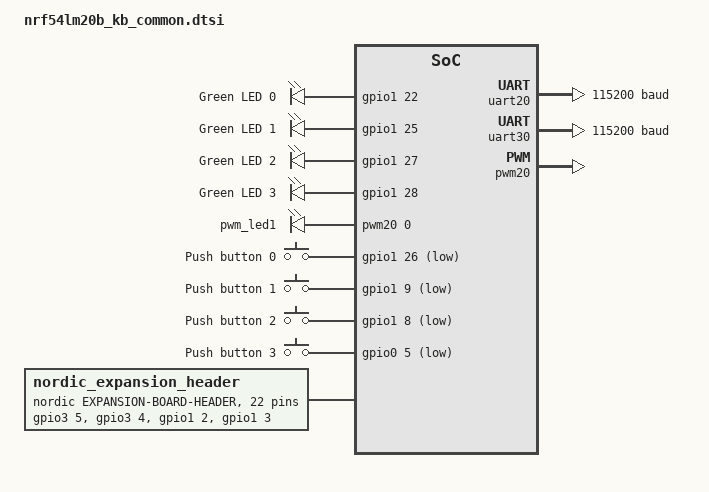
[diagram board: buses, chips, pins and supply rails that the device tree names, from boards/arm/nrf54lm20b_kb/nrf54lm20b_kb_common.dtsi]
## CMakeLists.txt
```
cmake_minimum_required(VERSION 3.20.0)
set(BOARD nrf54lm20b_kb/nrf54lm20b/cpuapp)
set(BOARD_ROOT ${CMAKE_CURRENT_SOURCE_DIR})
find_package(Zephyr REQUIRED HINTS $ENV{ZEPHYR_BASE})
project(nrf54lm20b_kb)

file(GLOB_RECURSE APP_SOURCES src/*.c)
target_sources(app PRIVATE ${APP_SOURCES})

target_include_directories(app PRIVATE inc)
```

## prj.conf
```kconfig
CONFIG_GPIO=y
CONFIG_INPUT=y
CONFIG_LED=y

# BT CONFIG
CONFIG_BT=y
CONFIG_LOG=y
CONFIG_BT_SMP=y
CONFIG_BT_PERIPHERAL=y
CONFIG_BT_DIS=y
CONFIG_BT_DIS_PNP=n
CONFIG_BT_DEVICE_NAME="nrf54lm20b_kb"
CONFIG_BT_DEVICE_APPEARANCE=768
CONFIG_BT_MAX_CONN=1

CONFIG_BT_BAS=y

CONFIG_BT_MAX_PAIRED=2

CONFIG_BT_SMP_APP_PAIRING_ACCEPT=y
CONFIG_BT_SETTINGS=y
CONFIG_SETTINGS=y
CONFIG_FLASH=y
CONFIG_FLASH_MAP=y
CONFIG_NVS=y

# Allow overwriting oldest bond when storage is full
CONFIG_BT_KEYS_OVERWRITE_OLDEST=y
CONFIG_BT_KEYS_SAVE_AGING_COUNTER_ON_PAIRING=y

# Increased stack due to settings API usage
CONFIG_SYSTEM_WORKQUEUE_STACK_SIZE=2048

# DEBUG
CONFIG_CBPRINTF_FP_SUPPORT=y

# Disassembly listing output (build/zephyr/zephyr.lst)
CONFIG_OUTPUT_DISASSEMBLY=y
CONFIG_OUTPUT_DISASSEMBLY_WITH_SOURCE=y
CONFIG_OUTPUT_SYMBOLS=y

# Shell
CONFIG_SHELL=y
CONFIG_SHELL_BACKEND_SERIAL=y

# SHT3x
CONFIG_SENSOR=y
CONFIG_SHT3XD=y
```

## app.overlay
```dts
/*
 * SHT3x temperature/humidity sensor — placeholder wiring (sensor not yet connected)
 */

&pinctrl {
	i2c21_default: i2c21_default {
		group1 {
			psels = <NRF_PSEL(TWIM_SCL, 1, 11)>,
				<NRF_PSEL(TWIM_SDA, 1, 12)>;
		};
	};

	i2c21_sleep: i2c21_sleep {
		group1 {
			psels = <NRF_PSEL(TWIM_SCL, 1, 11)>,
				<NRF_PSEL(TWIM_SDA, 1, 12)>;
			low-power-enable;
		};
	};
};

&i2c21 {
	status = "okay";
	pinctrl-0 = <&i2c21_default>;
	pinctrl-1 = <&i2c21_sleep>;
	pinctrl-names = "default", "sleep";
	clock-frequency = <I2C_BITRATE_FAST>;

	sht3xd: sht3xd@44 {
		compatible = "sensirion,sht3xd";
		reg = <0x44>;
	};
};

&mx25r64 {
	status = "disabled";
};
```

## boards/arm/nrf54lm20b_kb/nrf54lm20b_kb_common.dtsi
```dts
/*
 * Copyright (c) 2025 Nordic Semiconductor ASA
 *
 * SPDX-License-Identifier: Apache-2.0
 */

#include "nrf54lm20b_kb-pinctrl.dtsi"

/ {
	leds {
		compatible = "gpio-leds";

		led0: led_0 {
			gpios = <&gpio1 22 GPIO_ACTIVE_HIGH>;
			label = "Green LED 0";
		};

		led1: led_1 {
			gpios = <&gpio1 25 GPIO_ACTIVE_HIGH>;
			label = "Green LED 1";
		};

		led2: led_2 {
			gpios = <&gpio1 27 GPIO_ACTIVE_HIGH>;
			label = "Green LED 2";
		};

		led3: led_3 {
			gpios = <&gpio1 28 GPIO_ACTIVE_HIGH>;
			label = "Green LED 3";
		};
	};

	pwmleds {
		compatible = "pwm-leds";

		/*
		 * PWM signal can be exposed on GPIO pin only within same domain.
		 * There is only one domain which contains both PWM and GPIO:
		 * PWM20/21/22 and GPIO Port P1/P3.
		 * Only LEDs connected to P1/P3 can work with PWM, for example LED1.
		 */
		pwm_led1: pwm_led_1 {
			pwms = <&pwm20 0 PWM_MSEC(20) PWM_POLARITY_NORMAL>;
		};
	};

	buttons {
		compatible = "gpio-keys";

		button0: button_0 {
			gpios = <&gpio1 26 (GPIO_PULL_UP | GPIO_ACTIVE_LOW)>;
			label = "Push button 0";
			zephyr,code = <INPUT_KEY_0>;
		};

		button1: button_1 {
			gpios = <&gpio1 9 (GPIO_PULL_UP | GPIO_ACTIVE_LOW)>;
			label = "Push button 1";
			zephyr,code = <INPUT_KEY_1>;
		};

		button2: button_2 {
			gpios = <&gpio1 8 (GPIO_PULL_UP | GPIO_ACTIVE_LOW)>;
			label = "Push button 2";
			zephyr,code = <INPUT_KEY_2>;
		};

		button3: button_3 {
			gpios = <&gpio0 5 (GPIO_PULL_UP | GPIO_ACTIVE_LOW)>;
			label = "Push button 3";
			zephyr,code = <INPUT_KEY_3>;
		};
	};

	aliases {
		led0 = &led0;
		led1 = &led1;
		led2 = &led2;
		led3 = &led3;
		pwm-led0 = &pwm_led1;
		sw0 = &button0;
		sw1 = &button1;
		sw2 = &button2;
		sw3 = &button3;
		watchdog0 = &wdt31;
	};

	nordic_expansion_header: nordic_expansion_header {
		compatible = "nordic,expansion-board-header";
		#gpio-cells = <2>;
		gpio-map-mask = <0xffffffff 0xffffffc0>;
		gpio-map-pass-thru = <0 0x3f>;
		gpio-map = <0 0 &gpio3 5 0>,
			   <1 0 &gpio3 4 0>,
			   <2 0 &gpio1 2 0>,
			   <3 0 &gpio1 3 0>,
			   <4 0 &gpio1 4 0>,
			   <5 0 &gpio1 13 0>,
			   <6 0 &gpio3 0 0>,
			   <7 0 &gpio3 1 0>,
			   <8 0 &gpio0 3 0>,
			   <9 0 &gpio0 4 0>,
			   <10 0 &gpio3 2 0>,
			   <11 0 &gpio3 3 0>,
			   <12 0 &gpio1 7 0>,
			   <13 0 &gpio1 6 0>,
			   <14 0 &gpio1 5 0>,
			   <15 0 &gpio3 6 0>,
			   <16 0 &gpio2 0 0>,
			   <17 0 &gpio2 1 0>,
			   <18 0 &gpio2 2 0>,
			   <19 0 &gpio2 3 0>,
			   <20 0 &gpio2 4 0>,
			   <21 0 &gpio2 5 0>;
	};
};

&uart20 {
	current-speed = <115200>;
	pinctrl-0 = <&uart20_default>;
	pinctrl-1 = <&uart20_sleep>;
	pinctrl-names = "default", "sleep";
};

&uart30 {
	current-speed = <115200>;
	pinctrl-0 = <&uart30_default>;
	pinctrl-1 = <&uart30_sleep>;
	pinctrl-names = "default", "sleep";
};

&pwm20 {
	status = "okay";
	pinctrl-0 = <&pwm20_default>;
	pinctrl-1 = <&pwm20_sleep>;
	pinctrl-names = "default", "sleep";
};
```

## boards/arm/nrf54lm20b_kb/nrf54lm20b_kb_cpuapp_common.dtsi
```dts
/*
 * Copyright (c) 2025 Nordic Semiconductor ASA
 *
 * SPDX-License-Identifier: Apache-2.0
 */

/* This file is common to the secure and non-secure domain */

#include <nordic/nrf54lm20_a_b_cpuapp.dtsi>
#include "nrf54lm20b_kb_common.dtsi"

/ {
	chosen {
		zephyr,console = &uart20;
		zephyr,shell-uart = &uart20;
		zephyr,uart-mcumgr = &uart20;
		zephyr,bt-mon-uart = &uart20;
		zephyr,bt-c2h-uart = &uart20;
		zephyr,flash-controller = &rram_controller;
		zephyr,flash = &cpuapp_rram;
		zephyr,ieee802154 = &ieee802154;
	};

	aliases {
		mcuboot-button0 = &button0;
		mcuboot-led0 = &led0;
		adc = &adc;
	};
};

&cpuapp_sram {
	status = "okay";
};

&hfpll {
	clock-frequency = <DT_FREQ_M(128)>;
};

&lfxo {
	load-capacitors = "internal";
	load-capacitance-femtofarad = <17000>;
};

&hfxo {
	load-capacitors = "internal";
	load-capacitance-femtofarad = <15000>;
};

&vregmain {
	status = "okay";
	regulator-initial-mode = <NRF5X_REG_MODE_DCDC>;
};

&vregusb {
	status = "okay";
};

&grtc {
	owned-channels = <0 1 2 3 4 5 6 7 8 9 10 11>;
	/* Channels 7-11 reserved for Zero Latency IRQs, 3-4 for FLPR */
	child-owned-channels = <3 4 7 8 9 10 11>;
	status = "okay";
};

&uart20 {
	status = "okay";
};

&nfct {
	status = "okay";
};

&gpio0 {
	status = "okay";
};

&gpio1 {
	status = "okay";
};

&gpio2 {
	status = "okay";
};

&gpio3 {
	status = "okay";
};

&gpiote20 {
	status = "okay";
};

&gpiote30 {
	status = "okay";
};

&radio {
	status = "okay";
};

temp_sensor: &temp {
	status = "okay";
};

&clock {
	status = "okay";
};

&ieee802154 {
	status = "okay";
};

zephyr_udc0: &usbhs {
	status = "okay";
};

&spi00 {
	status = "okay";
	cs-gpios = <&gpio2 5 GPIO_ACTIVE_LOW>;
	pinctrl-0 = <&spi00_default>;
	pinctrl-1 = <&spi00_sleep>;
	pinctrl-names = "default", "sleep";

	mx25r64: mx25r6435f@0 {
		compatible = "jedec,spi-nor";
		status = "disabled";
		reg = <0>;
		spi-max-frequency = <8000000>;
		jedec-id = [c2 28 17];
		sfdp-bfp = [e5 20 f1 ff ff ff ff 03 44 eb 08 6b 08 3b 04 bb
			    ee ff ff ff ff ff 00 ff ff ff 00 ff 0c 20 0f 52
			    10 d8 00 ff 23 72 f5 00 82 ed 04 cc 44 83 48 44
			    30 b0 30 b0 f7 c4 d5 5c 00 be 29 ff f0 d0 ff ff];
		size = <67108864>;
		has-dpd;
		t-enter-dpd = <10000>;
		t-exit-dpd = <35000>;
		reset-gpios = <&gpio2 0 GPIO_ACTIVE_LOW>;
	};
};

&adc {
	status = "okay";
};
```

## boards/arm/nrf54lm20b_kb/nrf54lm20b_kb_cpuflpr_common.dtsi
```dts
/*
 * Copyright (c) 2025 Nordic Semiconductor ASA
 *
 * SPDX-License-Identifier: Apache-2.0
 */

#include <vendor/nordic/nrf54lm20_a_b_cpuflpr.dtsi>
#include "nrf54lm20b_kb_common.dtsi"

&cpuflpr_rram {
	partitions {
		#address-cells = <1>;
		#size-cells = <1>;
		ranges;

		cpuflpr_code_partition: partition@0 {
			label = "image-0";
			compatible = "zephyr,mapped-partition";
			reg = <0x0 DT_SIZE_K(96)>;
		};
	};
};

&grtc {
	owned-channels = <3 4>;
	status = "okay";
};

&uart30 {
	status = "okay";
};

&gpio0 {
	status = "okay";
};

&gpio1 {
	status = "okay";
};

&gpio2 {
	status = "okay";
};

&gpio3 {
	status = "okay";
};

&gpiote20 {
	status = "okay";
};

&gpiote30 {
	status = "okay";
};
```

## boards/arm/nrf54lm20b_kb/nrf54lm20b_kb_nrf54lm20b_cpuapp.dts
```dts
/*
 * Copyright (c) 2026 Nordic Semiconductor ASA
 *
 * SPDX-License-Identifier: Apache-2.0
 */

/dts-v1/;

#include <nordic/nrf54lm20b_cpuapp.dtsi>
#include "nrf54lm20b_kb_cpuapp_common.dtsi"

/ {
	compatible = "nordic,nrf54lm20b_kb_nrf54lm20b-cpuapp";
	model = "nRF54LM20B KB Application MCU";

	chosen {
		zephyr,code-partition = &slot0_partition;
		zephyr,sram = &cpuapp_sram;
		zephyr,settings-partition = &storage_partition;
	};
};

/* Include default memory partition configuration file */
#include <vendor/nordic/nrf54lm20b_cpuapp_partition.dtsi>
```

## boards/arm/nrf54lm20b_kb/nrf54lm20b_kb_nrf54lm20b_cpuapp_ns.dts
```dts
/*
 * Copyright (c) 2026 Nordic Semiconductor ASA
 *
 * SPDX-License-Identifier: Apache-2.0
 */

/dts-v1/;

#define USE_NON_SECURE_ADDRESS_MAP 1

#include <nordic/nrf54lm20b_cpuapp.dtsi>
#include "nrf54lm20b_kb_cpuapp_common.dtsi"

/ {
	compatible = "nordic,nrf54lm20b_kb_nrf54lm20b-cpuapp-ns";
	model = "nRF54LM20B KB Application MCU Non-Secure";

	chosen {
		zephyr,code-partition = &slot0_ns_partition;
		zephyr,sram = &sram0_ns;
		zephyr,entropy = &psa_rng;
	};

	/delete-node/ rng;

	psa_rng: psa-rng {
		status = "okay";
	};
};

&bt_hci_controller {
	status = "disabled";
};

&uart30 {
	/* Disable so that TF-M can use this UART */
	status = "disabled";
};

/* Include default memory partition configuration file */
#include <vendor/nordic/nrf54lm20b_cpuapp_ns_partition.dtsi>
```

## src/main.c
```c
/*
 * Copyright (c) 2012-2014 Wind River Systems, Inc.
 *
 * SPDX-License-Identifier: Apache-2.0
 */

#include <zephyr/kernel.h>

#include <zephyr/logging/log.h>
LOG_MODULE_REGISTER(main, LOG_LEVEL_DBG);

int main(void)
{
	while (1) {
		k_sleep(K_MSEC(1000));
	}

	return 0;
}
```
